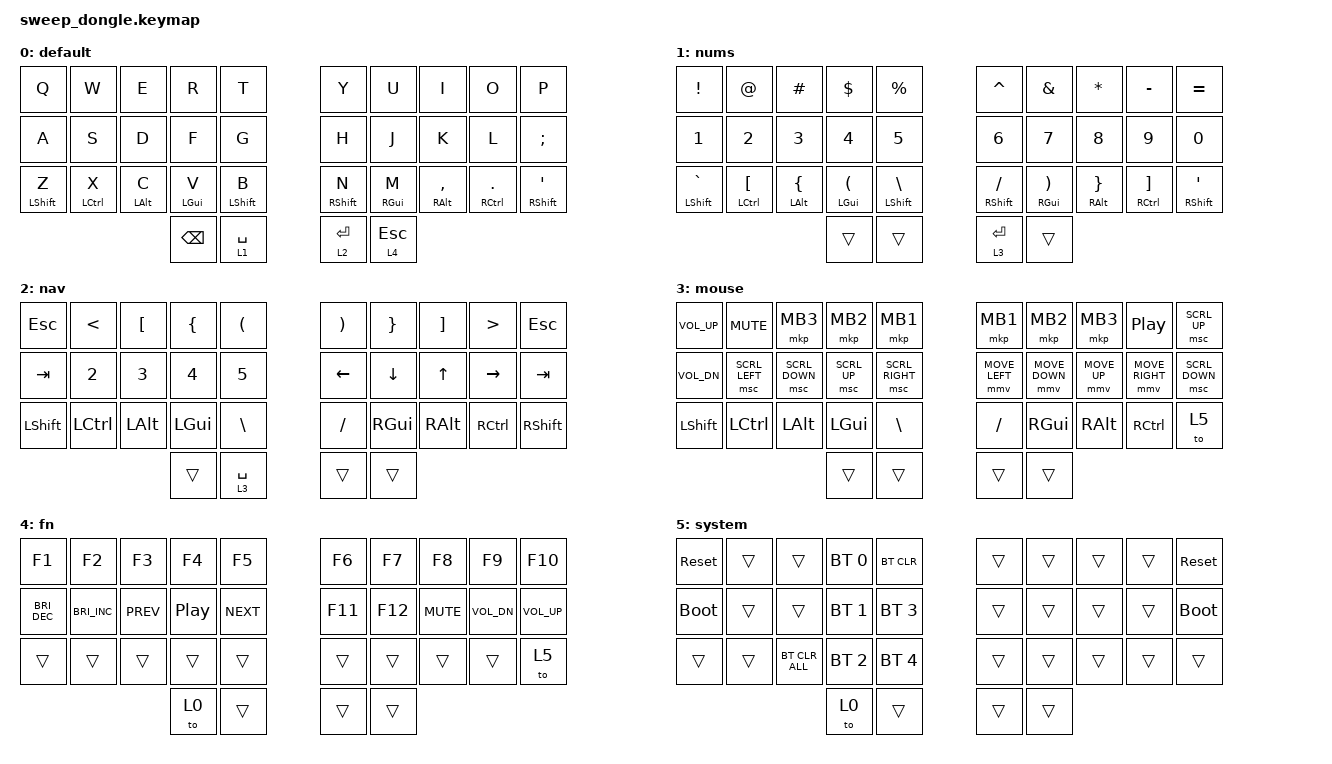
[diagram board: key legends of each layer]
#include <behaviors.dtsi>
#include <dt-bindings/zmk/bt.h>
#include <dt-bindings/zmk/keys.h>
#include <dt-bindings/zmk/pointing.h>

&mt {
    flavor = "tap-preferred";
    tapping_term_ms = <200>;
};

/ {
    combos {
        compatible = "zmk,combos";

        power {
            bindings = <&softoff>;
            key-positions = <20 4>;
        };

        power_r {
            bindings = <&softoff>;
            key-positions = <5 29>;
        };
    };

    behaviors {
        softoff: softoff {
            compatible = "zmk,behavior-soft-off";
            label = "SOFTOFF";
            #binding-cells = <0>;
            hold-time-ms = <2000>;
        };
    };

    keymap {
        compatible = "zmk,keymap";

        default {
            bindings = <
&kp Q             &kp W        &kp E       &kp R           &kp T          &kp Y        &kp U         &kp I           &kp O             &kp P
&kp A             &kp S        &kp D       &kp F           &kp G          &kp H        &kp J         &kp K           &kp L             &kp SEMI
&mt LEFT_SHIFT Z  &mt LCTRL X  &mt LALT C  &mt LEFT_GUI V  &mt LEFT_SHIFT B          &mt RSHIFT N        &mt RGUI M    &mt RALT COMMA  &mt RCTRL PERIOD  &mt RSHIFT SQT
                                           &kp BACKSPACE   &lt 1 SPACE    &lt 2 ENTER  &lt 4 ESCAPE
            >;
        };

        nums {
            bindings = <
&kp EXCLAMATION       &kp AT_SIGN             &kp POUND            &kp DOLLAR                     &kp PERCENT      &kp CARET    &kp AMPERSAND               &kp ASTERISK          &kp MINUS                &kp EQUAL
&kp N1                &kp N2                  &kp N3               &kp N4                         &kp N5           &kp N6       &kp N7                      &kp N8                &kp N9                   &kp N0
&mt LEFT_SHIFT GRAVE  &mt LCTRL LEFT_BRACKET  &mt LALT LEFT_BRACE  &mt LEFT_GUI LEFT_PARENTHESIS  &mt LEFT_SHIFT BACKSLASH    &mt RSHIFT SLASH    &mt RGUI RIGHT_PARENTHESIS  &mt RALT RIGHT_BRACE  &mt RCTRL RIGHT_BRACKET  &mt RSHIFT SQT
                                                                   &trans                         &trans           &lt 3 ENTER  &trans
            >;
        };

        nav {
            bindings = <
&kp ESCAPE      &kp LESS_THAN  &kp LEFT_BRACKET  &kp LEFT_BRACE  &kp LEFT_PARENTHESIS    &kp RIGHT_PARENTHESIS  &kp RIGHT_BRACE  &kp RIGHT_BRACKET  &kp GREATER_THAN  &kp ESCAPE
&kp TAB         &kp N2         &kp N3            &kp N4          &kp N5                  &kp LEFT               &kp DOWN_ARROW   &kp UP_ARROW       &kp RIGHT         &kp TAB
&kp LEFT_SHIFT  &kp LCTRL      &kp LALT          &kp LEFT_GUI    &kp BACKSLASH           &kp SLASH              &kp RGUI         &kp RALT           &kp RCTRL         &kp RSHIFT
                                                 &trans          &lt 3 SPACE             &trans                 &trans
            >;
        };

        mouse {
            bindings = <
&kp C_VOLUME_UP  &kp C_MUTE      &mkp MB3        &mkp MB2      &mkp MB1           &mkp MB1        &mkp MB2        &mkp MB3      &kp C_PLAY_PAUSE  &msc SCRL_UP
&kp C_VOL_DN     &msc SCRL_LEFT  &msc SCRL_DOWN  &msc SCRL_UP  &msc SCRL_RIGHT    &mmv MOVE_LEFT  &mmv MOVE_DOWN  &mmv MOVE_UP  &mmv MOVE_RIGHT   &msc SCRL_DOWN
&kp LEFT_SHIFT   &kp LCTRL       &kp LALT        &kp LEFT_GUI  &kp BACKSLASH      &kp SLASH       &kp RGUI        &kp RALT      &kp RCTRL         &to 5
                                                 &trans        &trans             &trans          &trans
            >;
        };

        fn {
            bindings = <
&kp F1         &kp F2         &kp F3      &kp F4    &kp F5        &kp F6   &kp F7   &kp F8      &kp F9        &kp F10
&kp C_BRI_DEC  &kp C_BRI_INC  &kp C_PREV  &kp C_PP  &kp C_NEXT    &kp F11  &kp F12  &kp C_MUTE  &kp C_VOL_DN  &kp C_VOL_UP
&trans         &trans         &trans      &trans    &trans        &trans   &trans   &trans      &trans        &to 5
                                          &to 0     &trans        &trans   &trans
            >;
        };

        system {
            bindings = <
&sys_reset   &trans  &trans          &bt BT_SEL 0  &bt BT_CLR      &trans  &trans  &trans  &trans  &sys_reset
&bootloader  &trans  &trans          &bt BT_SEL 1  &bt BT_SEL 3    &trans  &trans  &trans  &trans  &bootloader
&trans       &trans  &bt BT_CLR_ALL  &bt BT_SEL 2  &bt BT_SEL 4    &trans  &trans  &trans  &trans  &trans
                                     &to 0         &trans          &trans  &trans
            >;
        };
    };
};
